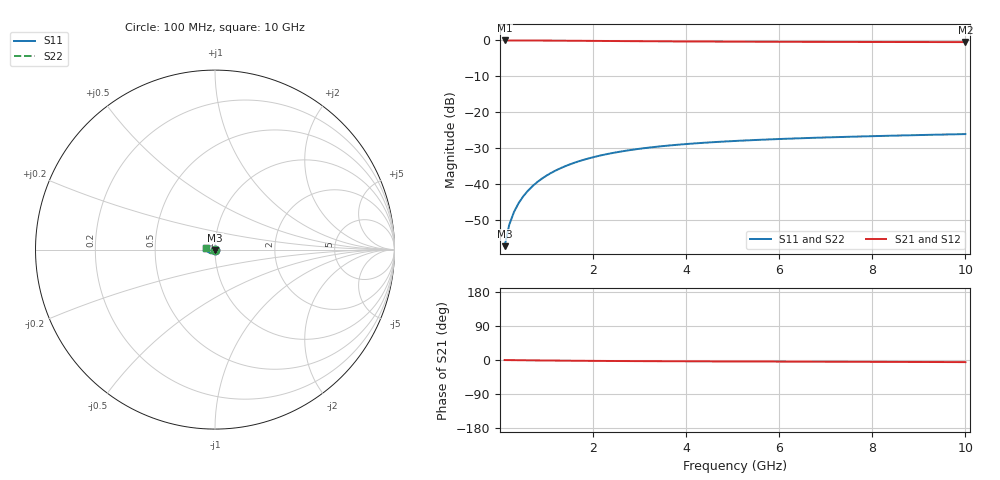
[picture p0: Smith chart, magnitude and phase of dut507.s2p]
! Touchstone file exported from HFSS 2024.1.0
!  File:  C:/UserFiles/LocalFiles/RDL_TSV_Batchsim/temp_TSV1_507_1779702101.aedt
!  Generated:  05:47:19 PM May 25, 2026
!  Design:  TSV1
!  Project:  temp_TSV1_507_1779702101
!  Setup:  Setup1
!  Solution:  Sweep
! Variables:
!  dtsv = 10.61um
!  hbump = 3um
!  htsv = 86.64um
!  lrdl = 252.1521522um
!  p = 40
!  p1 = 55.8um
!  t = 500um
!  trdl = 3um
!  wrdl = 24.89489489um
# GHz S MA R 50.000000
! Terminal data exported
! Port[1] = TSV22_T1
! Port[2] = TSV22_T2
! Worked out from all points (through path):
!   100 points, 100 MHz to 10 GHz, reference 50 ohm
!   highest |S21| = 0.00 dB at 100 MHz (marker M1); lowest = -0.5 dB at 10 GHz (marker M2)
!   lowest |S11| = -57.4 dB at 100 MHz (marker M3), VSWR 1.00, Z = 50 - j0.135 ohm
!   |S11| at or under -10 dB: start of sweep to end of sweep
!   |S22| runs from -57.4 to -26.1 dB; largest |S21 - S12| = 4.2e-15
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0.1  0.001353 -86.3  0.9998 -0.1  0.9998 -0.1  0.001353 -86.3
! Gamma 0 0 0 0
! Port Impedance 50 0 50 0
0.2  0.002696 -90.9  0.9997 -0.3  0.9997 -0.3  0.002696 -90.9
0.3  0.004038 -93.8  0.9994 -0.4  0.9994 -0.4  0.004038 -93.8
0.4  0.005375 -96.2  0.9991 -0.6  0.9991 -0.6  0.005375 -96.2
0.5  0.0067 -98.4  0.9987 -0.7  0.9987 -0.7  0.0067 -98.4
0.6  0.008011 -100.5  0.9982 -0.8  0.9982 -0.8  0.008011 -100.5
0.7  0.009303 -102.6  0.9976 -0.9  0.9976 -0.9  0.009303 -102.6
0.8  0.01057 -104.6  0.9969 -1.1  0.9969 -1.1  0.01057 -104.6
0.9  0.01182 -106.6  0.9962 -1.2  0.9962 -1.2  0.01182 -106.6
1.1  0.01423 -110.4  0.9947 -1.4  0.9947 -1.4  0.01423 -110.4
1.4  0.01762 -115.8  0.992 -1.8  0.992 -1.8  0.01762 -115.8
1.6  0.01971 -119.3  0.99 -1.9  0.99 -1.9  0.01971 -119.3
1.8  0.02168 -122.6  0.988 -2.1  0.988 -2.1  0.02168 -122.6
2.1  0.02438 -127.3  0.985 -2.4  0.985 -2.4  0.02438 -127.3
2.5  0.02754 -133.0  0.981 -2.7  0.981 -2.7  0.02754 -133.0
2.9  0.03026 -138.3  0.9772 -2.9  0.9772 -2.9  0.03026 -138.3
3.4  0.03312 -144.2  0.9729 -3.2  0.9729 -3.2  0.03312 -144.2
4.2  0.03673 -152.4  0.9671 -3.5  0.9671 -3.5  0.03673 -152.4
5.1  0.03981 -160.2  0.962 -3.9  0.962 -3.9  0.03981 -160.2
6.7  0.04379 -171.4  0.9557 -4.4  0.9557 -4.4  0.04379 -171.4
8.4  0.04695 179.0  0.9513 -5.0  0.9513 -5.0  0.04695 179.0
10  0.04948 171.5  0.9486 -5.6  0.9486 -5.6  0.04948 171.5
